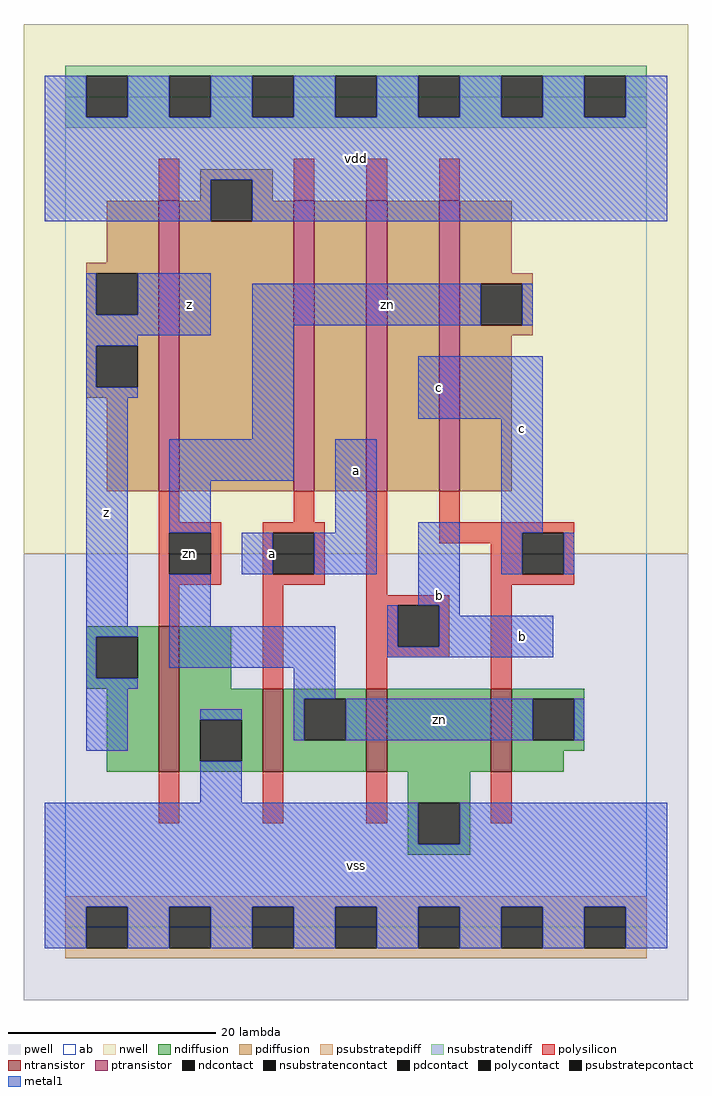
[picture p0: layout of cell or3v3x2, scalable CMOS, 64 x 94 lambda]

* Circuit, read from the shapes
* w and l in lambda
.subckt or3v3x2 a b c vdd vss z zn
M1 vss zn z vss nfet w=14 l=2
M2 zn a vss vss nfet w=8 l=2
M3 vss b zn vss nfet w=8 l=2
M4 zn c vss vss nfet w=8 l=2
M5 vdd zn z vdd pfet w=28 l=2
M6 n1 a vdd vdd pfet w=28 l=2
M7 n2 b n1 vdd pfet w=28 l=2
M8 zn c n2 vdd pfet w=28 l=2
.ends

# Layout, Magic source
magic
tech scmos
<< ab >>
rect 0 0 56 80
<< pwell >>
rect -4 -7 60 36
<< nwell >>
rect -4 36 60 87
<< polysilicon >>
rect 9 70 11 74
rect 22 70 24 74
rect 29 70 31 74
rect 36 70 38 74
rect 9 39 11 42
rect 22 39 24 42
rect 9 38 15 39
rect 9 34 10 38
rect 14 34 15 38
rect 9 33 15 34
rect 19 38 25 39
rect 19 34 20 38
rect 24 34 25 38
rect 19 33 25 34
rect 9 29 11 33
rect 19 23 21 33
rect 29 32 31 42
rect 36 39 38 42
rect 36 38 49 39
rect 36 37 44 38
rect 41 34 44 37
rect 48 34 49 38
rect 41 33 49 34
rect 29 31 37 32
rect 29 27 32 31
rect 36 27 37 31
rect 29 26 37 27
rect 29 23 31 26
rect 41 23 43 33
rect 9 10 11 15
rect 19 10 21 15
rect 29 10 31 15
rect 41 10 43 15
<< ndiffusion >>
rect 2 28 9 29
rect 2 24 3 28
rect 7 24 9 28
rect 2 23 9 24
rect 4 15 9 23
rect 11 23 16 29
rect 11 20 19 23
rect 11 16 13 20
rect 17 16 19 20
rect 11 15 19 16
rect 21 22 29 23
rect 21 18 23 22
rect 27 18 29 22
rect 21 15 29 18
rect 31 15 41 23
rect 43 22 50 23
rect 43 18 45 22
rect 49 18 50 22
rect 43 17 50 18
rect 43 15 48 17
rect 33 12 39 15
rect 33 8 34 12
rect 38 8 39 12
rect 33 7 39 8
<< pdiffusion >>
rect 13 72 20 73
rect 13 70 14 72
rect 4 64 9 70
rect 2 63 9 64
rect 2 59 3 63
rect 7 59 9 63
rect 2 56 9 59
rect 2 52 3 56
rect 7 52 9 56
rect 2 51 9 52
rect 4 42 9 51
rect 11 68 14 70
rect 18 70 20 72
rect 18 68 22 70
rect 11 42 22 68
rect 24 42 29 70
rect 31 42 36 70
rect 38 63 43 70
rect 38 62 45 63
rect 38 58 40 62
rect 44 58 45 62
rect 38 57 45 58
rect 38 42 43 57
<< metal1 >>
rect -2 78 2 82
rect 6 78 10 82
rect 14 78 18 82
rect 22 78 26 82
rect 30 78 34 82
rect 38 78 42 82
rect 46 78 50 82
rect 54 78 58 82
rect -2 72 58 78
rect -2 68 14 72
rect 18 68 58 72
rect 2 59 3 63
rect 7 59 14 63
rect 2 57 14 59
rect 18 58 40 62
rect 44 58 45 62
rect 2 56 7 57
rect 2 52 3 56
rect 2 51 7 52
rect 2 29 6 51
rect 18 47 22 58
rect 34 49 46 55
rect 10 43 22 47
rect 10 38 14 43
rect 26 38 30 47
rect 17 34 20 38
rect 24 34 30 38
rect 10 29 14 34
rect 34 31 38 39
rect 42 38 46 49
rect 42 34 44 38
rect 48 34 49 38
rect 2 28 7 29
rect 2 24 3 28
rect 10 25 26 29
rect 31 27 32 31
rect 36 30 38 31
rect 36 27 47 30
rect 31 26 47 27
rect 2 23 7 24
rect 2 17 6 23
rect 22 22 26 25
rect 13 20 17 21
rect 22 18 23 22
rect 27 18 45 22
rect 49 18 50 22
rect 13 12 17 16
rect -2 8 34 12
rect 38 8 58 12
rect -2 2 58 8
rect -2 -2 2 2
rect 6 -2 10 2
rect 14 -2 18 2
rect 22 -2 26 2
rect 30 -2 34 2
rect 38 -2 42 2
rect 46 -2 50 2
rect 54 -2 58 2
<< ntransistor >>
rect 9 15 11 29
rect 19 15 21 23
rect 29 15 31 23
rect 41 15 43 23
<< ptransistor >>
rect 9 42 11 70
rect 22 42 24 70
rect 29 42 31 70
rect 36 42 38 70
<< polycontact >>
rect 10 34 14 38
rect 20 34 24 38
rect 44 34 48 38
rect 32 27 36 31
<< ndcontact >>
rect 3 24 7 28
rect 13 16 17 20
rect 23 18 27 22
rect 45 18 49 22
rect 34 8 38 12
<< pdcontact >>
rect 3 59 7 63
rect 3 52 7 56
rect 14 68 18 72
rect 40 58 44 62
<< psubstratepcontact >>
rect 2 -2 6 2
rect 10 -2 14 2
rect 18 -2 22 2
rect 26 -2 30 2
rect 34 -2 38 2
rect 42 -2 46 2
rect 50 -2 54 2
<< nsubstratencontact >>
rect 2 78 6 82
rect 10 78 14 82
rect 18 78 22 82
rect 26 78 30 82
rect 34 78 38 82
rect 42 78 46 82
rect 50 78 54 82
<< psubstratepdiff >>
rect 0 2 56 3
rect 0 -2 2 2
rect 6 -2 10 2
rect 14 -2 18 2
rect 22 -2 26 2
rect 30 -2 34 2
rect 38 -2 42 2
rect 46 -2 50 2
rect 54 -2 56 2
rect 0 -3 56 -2
<< nsubstratendiff >>
rect 0 82 56 83
rect 0 78 2 82
rect 6 78 10 82
rect 14 78 18 82
rect 22 78 26 82
rect 30 78 34 82
rect 38 78 42 82
rect 46 78 50 82
rect 54 78 56 82
rect 0 77 56 78
<< labels >>
rlabel polycontact 12 36 12 36 6 zn
rlabel metal1 4 40 4 40 6 z
rlabel metal1 20 36 20 36 6 a
rlabel polycontact 12 36 12 36 6 zn
rlabel metal1 12 60 12 60 6 z
rlabel metal1 28 6 28 6 6 vss
rlabel metal1 36 32 36 32 6 b
rlabel metal1 28 44 28 44 6 a
rlabel metal1 36 52 36 52 6 c
rlabel metal1 28 74 28 74 6 vdd
rlabel metal1 36 20 36 20 6 zn
rlabel metal1 44 28 44 28 6 b
rlabel metal1 44 48 44 48 6 c
rlabel metal1 31 60 31 60 6 zn
<< end >>
